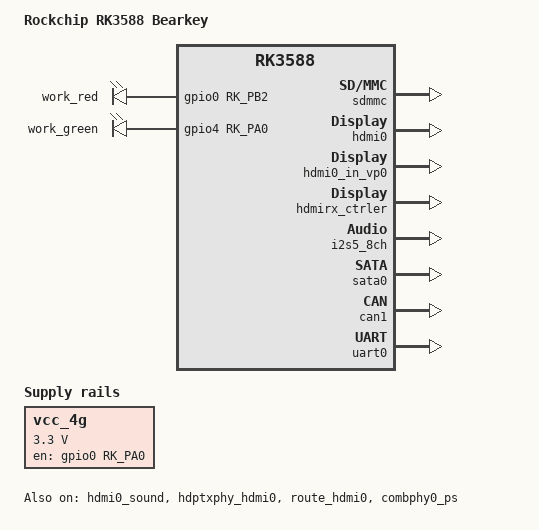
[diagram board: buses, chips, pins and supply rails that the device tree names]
// SPDX-License-Identifier: (GPL-2.0+ OR MIT)
/*
 * Copyright (c) 2021 Rockchip Electronics Co., Ltd.
 *
 */

/dts-v1/;

#include "rk3588-bearkey-bq3588c1-linux.dtsi"
#include "rk3588-linux.dtsi"
#include "rk3588-bearkey-bq3588c1-dsi1.dtsi"
//#include "rk3588-bearkey-bq3588c1-csi1.dtsi"
//#include "rk3588-bearkey-bq3588c1-csi2.dtsi"
//#include "rk3588-bearkey-bq3588c1-csi3.dtsi"
//#include "rk3588-bearkey-bq3588c1-csi4.dtsi"
#include "rk3588-carrier-board-ov13855-csi1.dtsi"
//#include "rk3588-carrier-board-ov13855-csi2.dtsi"
//#include "rk3588-carrier-board-ov13855-csi3.dtsi"
//#include "rk3588-carrier-board-ov13855-csi4.dtsi"

/ {
	model = "Rockchip RK3588 Bearkey";
	compatible = "rockchip,rk3588-bearkey-bq3588c1", "rockchip,rk3588";

	vcc_4g: vcc-4g-regulator {
		compatible = "regulator-fixed";
		enable-active-high;
		gpio = <&gpio0 RK_PA0 GPIO_ACTIVE_HIGH>;
		pinctrl-names = "default";
		pinctrl-0 = <&vcc_4g_drv>;
		regulator-name = "vcc_4g";
		regulator-always-on;
		regulator-boot-on;
		regulator-min-microvolt = <3300000>;
		regulator-max-microvolt = <3300000>;
	}; 
};

&leds {
	compatible = "gpio-leds";

	work-red {
		gpios = <&gpio0 RK_PB2 GPIO_ACTIVE_HIGH>;
		label = "work_red";
		default-state = "off";
	};

	work-green {
		gpios = <&gpio4 RK_PA0 GPIO_ACTIVE_HIGH>;
		label = "work_green";
		default-state = "off";
	};
};

&sdmmc {
	status = "okay";
};

&hdmi0 {
        enable-gpios = <&gpio4 RK_PB1 GPIO_ACTIVE_HIGH>;
        status = "okay";
};

&hdmi0_in_vp0 {
        status = "okay";
};

&hdmi0_sound {
        status = "okay";
};

&hdptxphy_hdmi0 {
        status = "okay";
};

&route_hdmi0 {
	status = "okay";
};

/* Should work with at least 128MB cma reserved above. */
&hdmirx_ctrler {
	status = "okay";

	/* Effective level used to trigger HPD: 0-low, 1-high */
	hpd-trigger-level = <1>;
	hdmirx-det-gpios = <&gpio1 29 GPIO_ACTIVE_LOW>;
};

&i2s5_8ch {
	status = "okay";
};

&sata0 {
	status = "okay";
};

&combphy0_ps {
	status = "okay";
};

&can1 {
	status = "okay";
	pinctrl-0 = <&can1m1_pins>;
};

&uart0 {
	status = "okay";
	pinctrl-0 = <&uart0m0_xfer &uart0_rtsn>;
};

&pinctrl {
	4g {
		vcc_4g_drv: vcc-4g-drv {
			rockchip,pins =
				<1 RK_PB4 RK_FUNC_GPIO &pcfg_output_low>,//LTE_PWRON
				<0 RK_PA0 RK_FUNC_GPIO &pcfg_output_high>, //4G_ENABLE
				<1 RK_PB5 RK_FUNC_GPIO &pcfg_output_low>,//4G_RESET
				<1 RK_PA6 RK_FUNC_GPIO &pcfg_output_high>;//4G_Flight_mode
		};

	};

};

